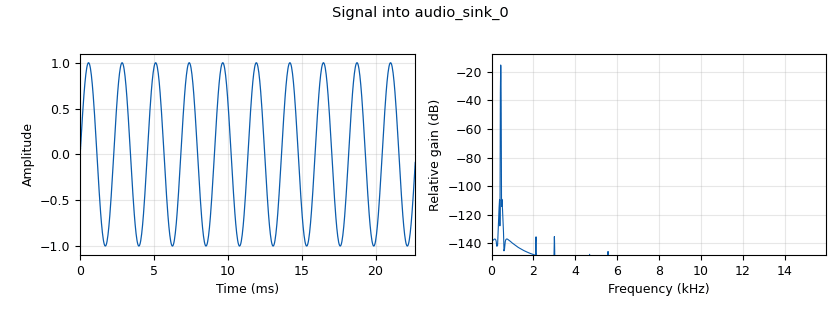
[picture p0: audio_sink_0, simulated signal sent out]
options:
  parameters:
    author: devone
    generate_options: qt_gui
    id: play_440hz
    output_language: python
  states: {}

blocks:
- name: samp_rate
  id: variable
  parameters:
    value: '32000'
  states: {}
- name: analog_sig_source_x_0
  id: analog_sig_source_x
  parameters:
    amp: '1'
    freq: '440'
    offset: '0'
    phase: '0'
    samp_rate: samp_rate
    type: float
    waveform: analog.GR_SIN_WAVE
  states: {}
- name: audio_sink_0
  id: audio_sink
  parameters:
    samp_rate: samp_rate
  states: {}

connections:
- [analog_sig_source_x_0, '0', audio_sink_0, '0']

metadata:
  file_format: 1
